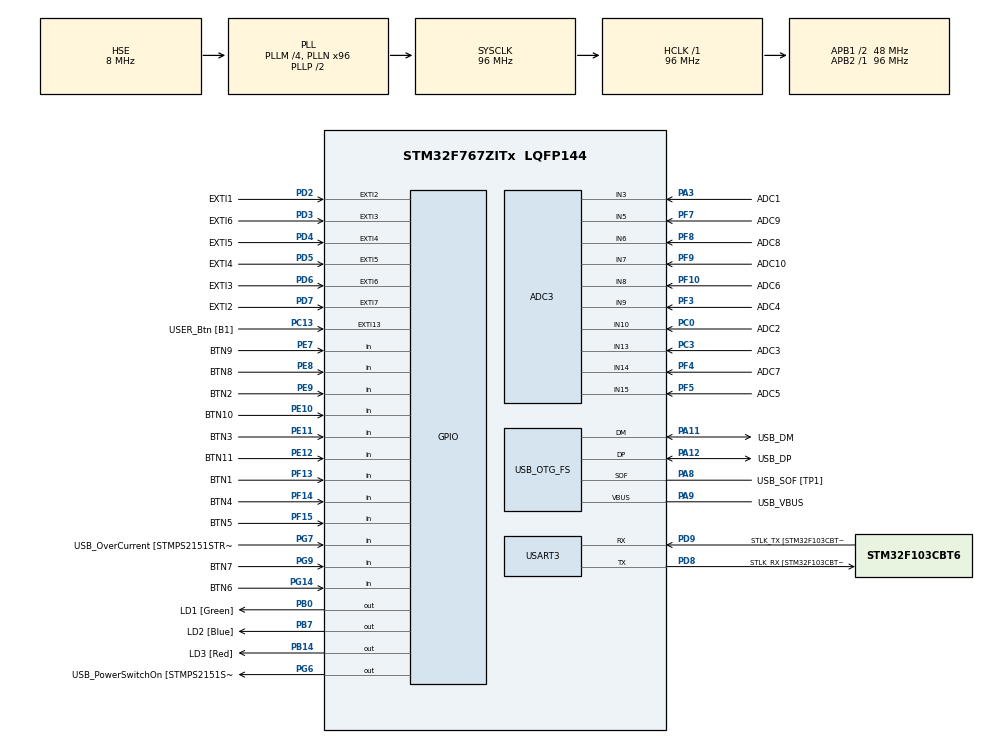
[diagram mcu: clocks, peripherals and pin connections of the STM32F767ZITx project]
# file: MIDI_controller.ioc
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ADC3.Channel-0\#ChannelRegularConversion=ADC_CHANNEL_3
ADC3.Channel-1\#ChannelRegularConversion=ADC_CHANNEL_10
ADC3.Channel-2\#ChannelRegularConversion=ADC_CHANNEL_13
ADC3.Channel-3\#ChannelRegularConversion=ADC_CHANNEL_9
ADC3.Channel-4\#ChannelRegularConversion=ADC_CHANNEL_15
ADC3.Channel-5\#ChannelRegularConversion=ADC_CHANNEL_8
ADC3.Channel-6\#ChannelRegularConversion=ADC_CHANNEL_14
ADC3.Channel-7\#ChannelRegularConversion=ADC_CHANNEL_6
ADC3.Channel-8\#ChannelRegularConversion=ADC_CHANNEL_5
ADC3.Channel-9\#ChannelRegularConversion=ADC_CHANNEL_7
ADC3.ClockPrescaler=ADC_CLOCK_SYNC_PCLK_DIV8
ADC3.DiscontinuousConvMode=ENABLE
ADC3.NbrOfConversion=10
ADC3.NbrOfConversionFlag=1
ADC3.Rank-0\#ChannelRegularConversion=1
ADC3.Rank-1\#ChannelRegularConversion=2
ADC3.Rank-2\#ChannelRegularConversion=3
ADC3.Rank-3\#ChannelRegularConversion=4
ADC3.Rank-4\#ChannelRegularConversion=5
ADC3.Rank-5\#ChannelRegularConversion=6
ADC3.Rank-6\#ChannelRegularConversion=7
ADC3.Rank-7\#ChannelRegularConversion=8
ADC3.Rank-8\#ChannelRegularConversion=9
ADC3.Rank-9\#ChannelRegularConversion=10
ADC3.SamplingTime-0\#ChannelRegularConversion=ADC_SAMPLETIME_3CYCLES
ADC3.SamplingTime-1\#ChannelRegularConversion=ADC_SAMPLETIME_3CYCLES
ADC3.SamplingTime-2\#ChannelRegularConversion=ADC_SAMPLETIME_3CYCLES
ADC3.SamplingTime-3\#ChannelRegularConversion=ADC_SAMPLETIME_3CYCLES
ADC3.SamplingTime-4\#ChannelRegularConversion=ADC_SAMPLETIME_3CYCLES
ADC3.SamplingTime-5\#ChannelRegularConversion=ADC_SAMPLETIME_3CYCLES
ADC3.SamplingTime-6\#ChannelRegularConversion=ADC_SAMPLETIME_3CYCLES
ADC3.SamplingTime-7\#ChannelRegularConversion=ADC_SAMPLETIME_3CYCLES
ADC3.SamplingTime-8\#ChannelRegularConversion=ADC_SAMPLETIME_3CYCLES
ADC3.SamplingTime-9\#ChannelRegularConversion=ADC_SAMPLETIME_3CYCLES
CORTEX_M7.default_mode_Activation=1
Mcu.Family=STM32F7
Mcu.Name=STM32F767ZITx
Mcu.Package=LQFP144
NVIC.OTG_FS_IRQn=true\:0\:0\:false\:false\:true\:false\:true\:true
NVIC.PriorityGroup=NVIC_PRIORITYGROUP_4
PA1.GPIO_Label=RMII_REF_CLK [LAN8742A-CZ-TR_REFCLK0]
PA1.Signal=ETH_REF_CLK
PA10.GPIO_Label=USB_ID
PA10.Signal=USB_OTG_FS_ID
PA11.GPIO_Label=USB_DM
PA11.Mode=Device_Only
PA11.Signal=USB_OTG_FS_DM
PA12.GPIO_Label=USB_DP
PA12.Mode=Device_Only
PA12.Signal=USB_OTG_FS_DP
PA13.GPIO_Label=TMS
PA13.Mode=Serial_Wire
PA13.Signal=SYS_JTMS-SWDIO
PA14.GPIO_Label=TCK
PA14.Mode=Serial_Wire
PA14.Signal=SYS_JTCK-SWCLK
PA2.GPIO_Label=RMII_MDIO [LAN8742A-CZ-TR_MDIO]
PA2.Signal=ETH_MDIO
PA3.GPIO_Label=ADC1
PA3.Signal=ADCx_IN3
PA7.GPIO_Label=RMII_CRS_DV [LAN8742A-CZ-TR_CRS_DV]
PA7.Signal=ETH_CRS_DV
PA8.GPIO_Label=USB_SOF [TP1]
PA8.Mode=Activate_SOF_FS
PA8.Signal=USB_OTG_FS_SOF
PA9.GPIO_Label=USB_VBUS
PA9.Mode=Activate_VBUS
PA9.Signal=USB_OTG_FS_VBUS
PB0.GPIO_Label=LD1 [Green]
PB0.Signal=GPIO_Output
PB13.GPIO_Label=RMII_TXD1 [LAN8742A-CZ-TR_TXD1]
PB13.Signal=ETH_TXD1
PB14.GPIO_Label=LD3 [Red]
PB14.Signal=GPIO_Output
PB3.GPIO_Label=SWO
PB3.Signal=SYS_JTDO-SWO
PB7.GPIO_Label=LD2 [Blue]
PB7.Signal=GPIO_Output
PC0.GPIO_Label=ADC2
PC0.Signal=ADCx_IN10
PC1.GPIO_Label=RMII_MDC [LAN8742A-CZ-TR_MDC]
PC1.Signal=ETH_MDC
PC13.GPIO_Label=USER_Btn [B1]
PC13.Signal=GPXTI13
PC14/OSC32_IN.Mode=LSE-External-Oscillator
PC14/OSC32_IN.Signal=RCC_OSC32_IN
PC15/OSC32_OUT.Mode=LSE-External-Oscillator
PC15/OSC32_OUT.Signal=RCC_OSC32_OUT
PC3.GPIO_Label=ADC3
PC3.Signal=ADCx_IN13
PC4.GPIO_Label=RMII_RXD0 [LAN8742A-CZ-TR_RXD0]
PC4.Signal=ETH_RXD0
PC5.GPIO_Label=RMII_RXD1 [LAN8742A-CZ-TR_RXD1]
PC5.Signal=ETH_RXD1
PD2.GPIO_Label=EXTI1
PD2.GPIO_ModeDefaultEXTI=GPIO_MODE_IT_RISING
PD2.Signal=GPXTI2
PD3.GPIO_Label=EXTI6
PD3.GPIO_ModeDefaultEXTI=GPIO_MODE_IT_RISING
PD3.Signal=GPXTI3
PD4.GPIO_Label=EXTI5
PD4.GPIO_ModeDefaultEXTI=GPIO_MODE_IT_RISING
PD4.Signal=GPXTI4
PD5.GPIO_Label=EXTI4
PD5.GPIO_ModeDefaultEXTI=GPIO_MODE_IT_RISING
PD5.Signal=GPXTI5
PD6.GPIO_Label=EXTI3
PD6.GPIO_ModeDefaultEXTI=GPIO_MODE_IT_RISING
PD6.Signal=GPXTI6
PD7.GPIO_Label=EXTI2
PD7.GPIO_ModeDefaultEXTI=GPIO_MODE_IT_RISING
PD7.Signal=GPXTI7
PD8.GPIO_Label=STLK_RX [STM32F103CBT6_PA3]
PD8.Mode=Asynchronous
PD8.Signal=USART3_TX
PD9.GPIO_Label=STLK_TX [STM32F103CBT6_PA2]
PD9.Mode=Asynchronous
PD9.Signal=USART3_RX
PE10.GPIO_Label=BTN10
PE10.GPIO_PuPd=GPIO_PULLUP
PE10.Signal=GPIO_Input
PE11.GPIO_Label=BTN3
PE11.GPIO_PuPd=GPIO_PULLUP
PE11.Signal=GPIO_Input
PE12.GPIO_Label=BTN11
PE12.GPIO_PuPd=GPIO_PULLUP
PE12.Signal=GPIO_Input
PE7.GPIO_Label=BTN9
PE7.GPIO_PuPd=GPIO_PULLUP
PE7.Signal=GPIO_Input
PE8.GPIO_Label=BTN8
PE8.GPIO_PuPd=GPIO_PULLUP
PE8.Signal=GPIO_Input
PE9.GPIO_Label=BTN2
PE9.GPIO_PuPd=GPIO_PULLUP
PE9.Signal=GPIO_Input
PF10.GPIO_Label=ADC6
PF10.Mode=IN8
PF10.Signal=ADC3_IN8
PF13.GPIO_Label=BTN1
PF13.GPIO_PuPd=GPIO_PULLUP
PF13.Signal=GPIO_Input
PF14.GPIO_Label=BTN4
PF14.GPIO_PuPd=GPIO_PULLUP
PF14.Signal=GPIO_Input
PF15.GPIO_Label=BTN5
PF15.GPIO_PuPd=GPIO_PULLUP
PF15.Signal=GPIO_Input
PF3.GPIO_Label=ADC4
PF3.Mode=IN9
PF3.Signal=ADC3_IN9
PF4.GPIO_Label=ADC7
PF4.Mode=IN14
PF4.Signal=ADC3_IN14
PF5.GPIO_Label=ADC5
PF5.Mode=IN15
PF5.Signal=ADC3_IN15
PF7.GPIO_Label=ADC9
PF7.Mode=IN5
PF7.Signal=ADC3_IN5
PF8.GPIO_Label=ADC8
PF8.Mode=IN6
PF8.Signal=ADC3_IN6
PF9.GPIO_Label=ADC10
PF9.Mode=IN7
PF9.Signal=ADC3_IN7
PG11.GPIO_Label=RMII_TX_EN [LAN8742A-CZ-TR_TXEN]
PG11.Signal=ETH_TX_EN
PG13.GPIO_Label=RMII_TXD0 [LAN8742A-CZ-TR_TXD0]
PG13.Signal=ETH_TXD0
PG14.GPIO_Label=BTN6
PG14.GPIO_PuPd=GPIO_PULLUP
PG14.Signal=GPIO_Input
PG6.GPIO_Label=USB_PowerSwitchOn [STMPS2151STR_EN]
PG6.Signal=GPIO_Output
PG7.GPIO_Label=USB_OverCurrent [STMPS2151STR_FAULT]
PG7.Signal=GPIO_Input
PG9.GPIO_Label=BTN7
PG9.GPIO_PuPd=GPIO_PULLUP
PG9.Signal=GPIO_Input
PH0/OSC_IN.GPIO_Label=MCO [STM32F103CBT6_PA8]
PH0/OSC_IN.Mode=HSE-External-Clock-Source
PH0/OSC_IN.Signal=RCC_OSC_IN
PH1/OSC_OUT.Mode=HSE-External-Clock-Source
PH1/OSC_OUT.Signal=RCC_OSC_OUT
ProjectManager.HeapSize=0x200
ProjectManager.StackSize=0x400
ProjectManager.TargetToolchain=CMake
RCC.48MHZClocksFreq_Value=24000000
RCC.AHBFreq_Value=96000000
RCC.APB1CLKDivider=RCC_HCLK_DIV2
RCC.APB1Freq_Value=48000000
RCC.APB1TimFreq_Value=96000000
RCC.APB2Freq_Value=96000000
RCC.APB2TimFreq_Value=96000000
RCC.CortexFreq_Value=96000000
RCC.HCLKFreq_Value=96000000
RCC.HSE_VALUE=8000000
RCC.HSI_VALUE=16000000
RCC.PLLM=4
RCC.PLLMUL=RCC_PLL_MUL9
RCC.PLLN=96
RCC.PLLQ=4
RCC.PRESCALERUSB=RCC_USBCLKSOURCE_PLL_DIV1_5
RCC.SYSCLKFreq_VALUE=96000000
RCC.SYSCLKSource=RCC_SYSCLKSOURCE_PLLCLK
RCC.SYSCLKSourceVirtual=RCC_SYSCLKSOURCE_PLLCLK
RCC.USBFreq_Value=48000000
RCC.VCOOutputFreq_Value=192000000
SH.ADCx_IN10.0=ADC3_IN10,IN10
SH.ADCx_IN13.0=ADC3_IN13,IN13
SH.ADCx_IN3.0=ADC3_IN3,IN3
USART3.VirtualMode-Asynchronous=VM_ASYNC
USB_DEVICE.CLASS_NAME_FS=HID
USB_DEVICE.VirtualMode-HID_FS=Hid
USB_DEVICE.VirtualModeFS=Hid_FS
USB_OTG_FS.VirtualMode=Device_Only
VP_USB_DEVICE_VS_USB_DEVICE_HID_FS.Mode=HID_FS
board=NUCLEO-F767ZI

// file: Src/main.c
/* USER CODE BEGIN Header */
/**
  ******************************************************************************
  * @file           : main.c
  * @brief          : Main program body
  ******************************************************************************
  * @attention
  *
  * Copyright (c) 2026 STMicroelectronics.
  * All rights reserved.
  *
  * This software is licensed under terms that can be found in the LICENSE file
  * in the root directory of this software component.
  * If no LICENSE file comes with this software, it is provided AS-IS.
  *
  ******************************************************************************
  */
/* USER CODE END Header */
#include "main.h"
#include "usb_device.h"

/* USER CODE BEGIN Includes */
#include "usbd_midi.h"
#include <stdint.h>
#include <stdio.h>

/* USER CODE END Includes */

/* USER CODE BEGIN PD */
#define POT_SMOOTHING 1
#define BOUNCE_DELAY 20

/* USER CODE END PD */

ADC_HandleTypeDef hadc3;

UART_HandleTypeDef huart3;

/* USER CODE BEGIN PV */

/* USER CODE BEGIN PV */
extern USBD_HandleTypeDef hUsbDeviceFS;
int bounceTime = 0;

uint8_t controlChange[4];

struct encoderData {
  int position;
  uint8_t turnDetected;
  uint8_t direction;
  int bounceTime;
  int counter;
  int prevCounter;
};

struct encoderData encoders[3];

uint8_t switchs[11];
uint16_t pots[10];

/* USER CODE END PV */

void SystemClock_Config(void);
static void MPU_Config(void);
static void MX_GPIO_Init(void);
static void MX_USART3_UART_Init(void);
static void MX_ADC3_Init(void);

/* USER CODE BEGIN 0 */

void HAL_GPIO_EXTI_Callback(uint16_t GPIO_Pin){
  // On rising edge
  // Switch statement
  switch (GPIO_Pin) {
  case EXTI1_Pin:
    if(HAL_GPIO_ReadPin(GPIOD, EXTI2_Pin) == GPIO_PIN_RESET){
        encoders[0].counter++;
      }
      else {
        encoders[0].counter--;
      }
    break;
  case EXTI2_Pin:
    if(HAL_GPIO_ReadPin(GPIOD, EXTI1_Pin) == GPIO_PIN_RESET){
      encoders[0].counter--;
    }
    else {
      encoders[0].counter++;
    }
    break;
  case EXTI3_Pin:
    if(HAL_GPIO_ReadPin(GPIOD, EXTI4_Pin) == GPIO_PIN_RESET){
        encoders[1].counter++;
      }
      else {
        encoders[1].counter--;
      }
    break;
  case EXTI4_Pin:
    if(HAL_GPIO_ReadPin(GPIOD, EXTI3_Pin) == GPIO_PIN_RESET){
      encoders[1].counter--;
    }
    else {
      encoders[1].counter++;
    }
    break;
  case EXTI5_Pin:
    if(HAL_GPIO_ReadPin(GPIOD, EXTI6_Pin) == GPIO_PIN_RESET){
        encoders[2].counter++;
      }
      else {
        encoders[2].counter--;
      }
    break;
  case EXTI6_Pin:
    if(HAL_GPIO_ReadPin(GPIOD, EXTI5_Pin) == GPIO_PIN_RESET){
      encoders[2].counter--;
    }
    else {
      encoders[2].counter++;
    }
    break;
  default:
      break;
  }
  return;
}

void sendMIDI(uint8_t cc, uint8_t data){
  printf("CC %d - val= %d\r\n", cc , data),
  controlChange[2] = cc;
  controlChange[3] = data;

  while(USBD_MIDI_GetState(&hUsbDeviceFS) == MIDI_BUSY ) {}

  USBD_MIDI_SendPackets(&hUsbDeviceFS, (uint8_t *)&controlChange, 4);
}

/* USER CODE END 0 */

int main(void)
{

  /* MPU Configuration--------------------------------------------------------*/
  MPU_Config();

  /* MCU Configuration--------------------------------------------------------*/

  /* Reset of all peripherals, Initializes the Flash interface and the Systick. */
  HAL_Init();

  /* Configure the system clock */
  SystemClock_Config();

  /* Initialize all configured peripherals */
  MX_GPIO_Init();
  MX_USART3_UART_Init();
  MX_USB_DEVICE_Init();
  MX_ADC3_Init();
  /* USER CODE BEGIN 2 */

  controlChange[0] = 0x0B; // Cable 0, Control change
  controlChange[1] = 0xB0; // Control change, Channel 0

  /* USER CODE END 2 */

  /* Infinite loop */
  while (1)
  {

    /* USER CODE BEGIN 3 */

    // Switchs
    if(HAL_GPIO_ReadPin(BTN1_GPIO_Port, BTN1_Pin) == GPIO_PIN_RESET){
      sendMIDI(50, 0);
    }
    if(HAL_GPIO_ReadPin(BTN2_GPIO_Port, BTN2_Pin) == GPIO_PIN_RESET){
      sendMIDI(51, 0);
    }
    if(HAL_GPIO_ReadPin(BTN3_GPIO_Port, BTN3_Pin) == GPIO_PIN_RESET){
      sendMIDI(52, 0);
    }
    if(HAL_GPIO_ReadPin(BTN4_GPIO_Port, BTN4_Pin) == GPIO_PIN_RESET){
      sendMIDI(53, 0);
    }
    if(HAL_GPIO_ReadPin(BTN5_GPIO_Port, BTN5_Pin) == GPIO_PIN_RESET){
      sendMIDI(54, 0);
    }
    if(HAL_GPIO_ReadPin(BTN6_GPIO_Port, BTN6_Pin) == GPIO_PIN_RESET){
      sendMIDI(55, 0);
    }
    if(HAL_GPIO_ReadPin(BTN7_GPIO_Port, BTN7_Pin) == GPIO_PIN_RESET){
      sendMIDI(56, 0);
    }
    if(HAL_GPIO_ReadPin(BTN8_GPIO_Port, BTN8_Pin) == GPIO_PIN_RESET){
      sendMIDI(57, 0);
    }
    if(HAL_GPIO_ReadPin(BTN9_GPIO_Port, BTN9_Pin) == GPIO_PIN_RESET){
      sendMIDI(58, 0);
    }
    if(HAL_GPIO_ReadPin(BTN10_GPIO_Port, BTN10_Pin) == GPIO_PIN_RESET){
      sendMIDI(59, 0);
    }
    if(HAL_GPIO_ReadPin(BTN11_GPIO_Port, BTN11_Pin) == GPIO_PIN_RESET){
      sendMIDI(60, 0);
    }

    // Rotary encoders
    int i;
    for (i = 0; i < 3; i++) {
      struct encoderData *encoder = &encoders[i];
      if(encoder->counter != encoder->prevCounter){
        sendMIDI(61 + i, 64 - (encoder->counter - encoder->prevCounter));
        HAL_Delay(1); // TODO fixed rate
      }
      encoder->prevCounter = encoder->counter;
    }

    // Pots
    for (i=0; i < 10; i++){
      // Scan & discontinuous conversion mode (trigger each conversion)
      HAL_ADC_Start(&hadc3); // Start ADC Conversion
      HAL_ADC_PollForConversion(&hadc3, 1); // Poll ADC1 Perihperal & TimeOut = 1mSec
      uint16_t AD_RES = HAL_ADC_GetValue(&hadc3); // Read The ADC Conversion Result

      int current =  (int)(AD_RES * 0.03125); // Convert to uint8 (0-127)
      int prev = pots[i];

      if(current < prev - POT_SMOOTHING || current > prev + POT_SMOOTHING){
        sendMIDI(64 + i, current);
        pots[i] = (uint8_t)current;
      }
    }
    HAL_ADC_Stop(&hadc3);

  }
  /* USER CODE END 3 */
}

void SystemClock_Config(void)
{
  RCC_OscInitTypeDef RCC_OscInitStruct = {0};
  RCC_ClkInitTypeDef RCC_ClkInitStruct = {0};

  /** Configure LSE Drive Capability
  */
  HAL_PWR_EnableBkUpAccess();

  /** Configure the main internal regulator output voltage
  */
  __HAL_RCC_PWR_CLK_ENABLE();
  __HAL_PWR_VOLTAGESCALING_CONFIG(PWR_REGULATOR_VOLTAGE_SCALE3);

  /** Initializes the RCC Oscillators according to the specified parameters
  * in the RCC_OscInitTypeDef structure.
  */
  RCC_OscInitStruct.OscillatorType = RCC_OSCILLATORTYPE_HSE;
  RCC_OscInitStruct.HSEState = RCC_HSE_BYPASS;
  RCC_OscInitStruct.PLL.PLLState = RCC_PLL_ON;
  RCC_OscInitStruct.PLL.PLLSource = RCC_PLLSOURCE_HSE;
  RCC_OscInitStruct.PLL.PLLM = 4;
  RCC_OscInitStruct.PLL.PLLN = 96;
  RCC_OscInitStruct.PLL.PLLP = RCC_PLLP_DIV2;
  RCC_OscInitStruct.PLL.PLLQ = 4;
  RCC_OscInitStruct.PLL.PLLR = 2;
  if (HAL_RCC_OscConfig(&RCC_OscInitStruct) != HAL_OK)
  {
    Error_Handler();
  }

  /** Activate the Over-Drive mode
  */
  if (HAL_PWREx_EnableOverDrive() != HAL_OK)
  {
    Error_Handler();
  }

  /** Initializes the CPU, AHB and APB buses clocks
  */
  RCC_ClkInitStruct.ClockType = RCC_CLOCKTYPE_HCLK|RCC_CLOCKTYPE_SYSCLK
                              |RCC_CLOCKTYPE_PCLK1|RCC_CLOCKTYPE_PCLK2;
  RCC_ClkInitStruct.SYSCLKSource = RCC_SYSCLKSOURCE_PLLCLK;
  RCC_ClkInitStruct.AHBCLKDivider = RCC_SYSCLK_DIV1;
  RCC_ClkInitStruct.APB1CLKDivider = RCC_HCLK_DIV2;
  RCC_ClkInitStruct.APB2CLKDivider = RCC_HCLK_DIV1;

  if (HAL_RCC_ClockConfig(&RCC_ClkInitStruct, FLASH_LATENCY_3) != HAL_OK)
  {
    Error_Handler();
  }
}

static void MX_ADC3_Init(void)
{

  ADC_ChannelConfTypeDef sConfig = {0};

  /** Configure the global features of the ADC (Clock, Resolution, Data Alignment and number of conversion)
  */
  hadc3.Instance = ADC3;
  hadc3.Init.ClockPrescaler = ADC_CLOCK_SYNC_PCLK_DIV8;
  hadc3.Init.Resolution = ADC_RESOLUTION_12B;
  hadc3.Init.ScanConvMode = ADC_SCAN_ENABLE;
  hadc3.Init.ContinuousConvMode = DISABLE;
  hadc3.Init.DiscontinuousConvMode = ENABLE;
  hadc3.Init.NbrOfDiscConversion = 1;
  hadc3.Init.ExternalTrigConvEdge = ADC_EXTERNALTRIGCONVEDGE_NONE;
  hadc3.Init.ExternalTrigConv = ADC_SOFTWARE_START;
  hadc3.Init.DataAlign = ADC_DATAALIGN_RIGHT;
  hadc3.Init.NbrOfConversion = 10;
  hadc3.Init.DMAContinuousRequests = DISABLE;
  hadc3.Init.EOCSelection = ADC_EOC_SINGLE_CONV;
  if (HAL_ADC_Init(&hadc3) != HAL_OK)
  {
    Error_Handler();
  }

  /** Configure for the selected ADC regular channel its corresponding rank in the sequencer and its sample time.
  */
  sConfig.Channel = ADC_CHANNEL_3;
  sConfig.Rank = ADC_REGULAR_RANK_1;
  sConfig.SamplingTime = ADC_SAMPLETIME_3CYCLES;
  if (HAL_ADC_ConfigChannel(&hadc3, &sConfig) != HAL_OK)
  {
    Error_Handler();
  }

  /** Configure for the selected ADC regular channel its corresponding rank in the sequencer and its sample time.
  */
  sConfig.Channel = ADC_CHANNEL_10;
  sConfig.Rank = ADC_REGULAR_RANK_2;
  if (HAL_ADC_ConfigChannel(&hadc3, &sConfig) != HAL_OK)
  {
    Error_Handler();
  }

  /** Configure for the selected ADC regular channel its corresponding rank in the sequencer and its sample time.
  */
  sConfig.Channel = ADC_CHANNEL_13;
  sConfig.Rank = ADC_REGULAR_RANK_3;
  if (HAL_ADC_ConfigChannel(&hadc3, &sConfig) != HAL_OK)
  {
    Error_Handler();
  }

  /** Configure for the selected ADC regular channel its corresponding rank in the sequencer and its sample time.
  */
  sConfig.Channel = ADC_CHANNEL_9;
  sConfig.Rank = ADC_REGULAR_RANK_4;
  if (HAL_ADC_ConfigChannel(&hadc3, &sConfig) != HAL_OK)
  {
    Error_Handler();
  }

  /** Configure for the selected ADC regular channel its corresponding rank in the sequencer and its sample time.
  */
  sConfig.Channel = ADC_CHANNEL_15;
  sConfig.Rank = ADC_REGULAR_RANK_5;
  if (HAL_ADC_ConfigChannel(&hadc3, &sConfig) != HAL_OK)
  {
    Error_Handler();
  }

  /** Configure for the selected ADC regular channel its corresponding rank in the sequencer and its sample time.
  */
  sConfig.Channel = ADC_CHANNEL_8;
  sConfig.Rank = ADC_REGULAR_RANK_6;
  if (HAL_ADC_ConfigChannel(&hadc3, &sConfig) != HAL_OK)
  {
    Error_Handler();
  }

  /** Configure for the selected ADC regular channel its corresponding rank in the sequencer and its sample time.
  */
  sConfig.Channel = ADC_CHANNEL_14;
  sConfig.Rank = ADC_REGULAR_RANK_7;
  if (HAL_ADC_ConfigChannel(&hadc3, &sConfig) != HAL_OK)
  {
    Error_Handler();
  }

  /** Configure for the selected ADC regular channel its corresponding rank in the sequencer and its sample time.
  */
  sConfig.Channel = ADC_CHANNEL_6;
  sConfig.Rank = ADC_REGULAR_RANK_8;
  if (HAL_ADC_ConfigChannel(&hadc3, &sConfig) != HAL_OK)
  {
    Error_Handler();
  }

  /** Configure for the selected ADC regular channel its corresponding rank in the sequencer and its sample time.
  */
  sConfig.Channel = ADC_CHANNEL_5;
  sConfig.Rank = ADC_REGULAR_RANK_9;
  if (HAL_ADC_ConfigChannel(&hadc3, &sConfig) != HAL_OK)
  {
    Error_Handler();
  }

  /** Configure for the selected ADC regular channel its corresponding rank in the sequencer and its sample time.
  */
  sConfig.Channel = ADC_CHANNEL_7;
  sConfig.Rank = ADC_REGULAR_RANK_10;
  if (HAL_ADC_ConfigChannel(&hadc3, &sConfig) != HAL_OK)
  {
    Error_Handler();
  }

}

static void MX_USART3_UART_Init(void)
{

  huart3.Instance = USART3;
  huart3.Init.BaudRate = 115200;
  huart3.Init.WordLength = UART_WORDLENGTH_8B;
  huart3.Init.StopBits = UART_STOPBITS_1;
  huart3.Init.Parity = UART_PARITY_NONE;
  huart3.Init.Mode = UART_MODE_TX_RX;
  huart3.Init.HwFlowCtl = UART_HWCONTROL_NONE;
  huart3.Init.OverSampling = UART_OVERSAMPLING_16;
  huart3.Init.OneBitSampling = UART_ONE_BIT_SAMPLE_DISABLE;
  huart3.AdvancedInit.AdvFeatureInit = UART_ADVFEATURE_NO_INIT;
  if (HAL_UART_Init(&huart3) != HAL_OK)
  {
    Error_Handler();
  }

}

static void MX_GPIO_Init(void)
{
  GPIO_InitTypeDef GPIO_InitStruct = {0};

  /* GPIO Ports Clock Enable */
  __HAL_RCC_GPIOC_CLK_ENABLE();
  __HAL_RCC_GPIOF_CLK_ENABLE();
  __HAL_RCC_GPIOH_CLK_ENABLE();
  __HAL_RCC_GPIOA_CLK_ENABLE();
  __HAL_RCC_GPIOB_CLK_ENABLE();
  __HAL_RCC_GPIOE_CLK_ENABLE();
  __HAL_RCC_GPIOD_CLK_ENABLE();
  __HAL_RCC_GPIOG_CLK_ENABLE();

  /*Configure GPIO pin Output Level */
  HAL_GPIO_WritePin(GPIOB, LD1_Pin|LD3_Pin|LD2_Pin, GPIO_PIN_RESET);

  /*Configure GPIO pin Output Level */
  HAL_GPIO_WritePin(USB_PowerSwitchOn_GPIO_Port, USB_PowerSwitchOn_Pin, GPIO_PIN_RESET);

  /*Configure GPIO pin : USER_Btn_Pin */
  GPIO_InitStruct.Pin = USER_Btn_Pin;
  GPIO_InitStruct.Mode = GPIO_MODE_IT_RISING;
  GPIO_InitStruct.Pull = GPIO_NOPULL;
  HAL_GPIO_Init(USER_Btn_GPIO_Port, &GPIO_InitStruct);

  /*Configure GPIO pins : RMII_MDC_Pin RMII_RXD0_Pin RMII_RXD1_Pin */
  GPIO_InitStruct.Pin = RMII_MDC_Pin|RMII_RXD0_Pin|RMII_RXD1_Pin;
  GPIO_InitStruct.Mode = GPIO_MODE_AF_PP;
  GPIO_InitStruct.Pull = GPIO_NOPULL;
  GPIO_InitStruct.Speed = GPIO_SPEED_FREQ_HIGH;
  GPIO_InitStruct.Alternate = GPIO_AF11_ETH;
  HAL_GPIO_Init(GPIOC, &GPIO_InitStruct);

  /*Configure GPIO pins : RMII_REF_CLK_Pin RMII_MDIO_Pin RMII_CRS_DV_Pin */
  GPIO_InitStruct.Pin = RMII_REF_CLK_Pin|RMII_MDIO_Pin|RMII_CRS_DV_Pin;
  GPIO_InitStruct.Mode = GPIO_MODE_AF_PP;
  GPIO_InitStruct.Pull = GPIO_NOPULL;
  GPIO_InitStruct.Speed = GPIO_SPEED_FREQ_HIGH;
  GPIO_InitStruct.Alternate = GPIO_AF11_ETH;
  HAL_GPIO_Init(GPIOA, &GPIO_InitStruct);

  /*Configure GPIO pins : LD1_Pin LD3_Pin LD2_Pin */
  GPIO_InitStruct.Pin = LD1_Pin|LD3_Pin|LD2_Pin;
  GPIO_InitStruct.Mode = GPIO_MODE_OUTPUT_PP;
  GPIO_InitStruct.Pull = GPIO_NOPULL;
  GPIO_InitStruct.Speed = GPIO_SPEED_FREQ_LOW;
  HAL_GPIO_Init(GPIOB, &GPIO_InitStruct);

  /*Configure GPIO pins : BTN1_Pin BTN4_Pin BTN5_Pin */
  GPIO_InitStruct.Pin = BTN1_Pin|BTN4_Pin|BTN5_Pin;
  GPIO_InitStruct.Mode = GPIO_MODE_INPUT;
  GPIO_InitStruct.Pull = GPIO_PULLUP;
  HAL_GPIO_Init(GPIOF, &GPIO_InitStruct);

  /*Configure GPIO pins : BTN9_Pin BTN8_Pin BTN2_Pin BTN10_Pin
                           BTN3_Pin BTN11_Pin */
  GPIO_InitStruct.Pin = BTN9_Pin|BTN8_Pin|BTN2_Pin|BTN10_Pin
                          |BTN3_Pin|BTN11_Pin;
  GPIO_InitStruct.Mode = GPIO_MODE_INPUT;
  GPIO_InitStruct.Pull = GPIO_PULLUP;
  HAL_GPIO_Init(GPIOE, &GPIO_InitStruct);

  /*Configure GPIO pin : RMII_TXD1_Pin */
  GPIO_InitStruct.Pin = RMII_TXD1_Pin;
  GPIO_InitStruct.Mode = GPIO_MODE_AF_PP;
  GPIO_InitStruct.Pull = GPIO_NOPULL;
  GPIO_InitStruct.Speed = GPIO_SPEED_FREQ_HIGH;
  GPIO_InitStruct.Alternate = GPIO_AF11_ETH;
  HAL_GPIO_Init(RMII_TXD1_GPIO_Port, &GPIO_InitStruct);

  /*Configure GPIO pin : USB_PowerSwitchOn_Pin */
  GPIO_InitStruct.Pin = USB_PowerSwitchOn_Pin;
  GPIO_InitStruct.Mode = GPIO_MODE_OUTPUT_PP;
  GPIO_InitStruct.Pull = GPIO_NOPULL;
  GPIO_InitStruct.Speed = GPIO_SPEED_FREQ_LOW;
  HAL_GPIO_Init(USB_PowerSwitchOn_GPIO_Port, &GPIO_InitStruct);

  /*Configure GPIO pin : USB_OverCurrent_Pin */
  GPIO_InitStruct.Pin = USB_OverCurrent_Pin;
  GPIO_InitStruct.Mode = GPIO_MODE_INPUT;
  GPIO_InitStruct.Pull = GPIO_NOPULL;
  HAL_GPIO_Init(USB_OverCurrent_GPIO_Port, &GPIO_InitStruct);

  /*Configure GPIO pins : EXTI1_Pin EXTI6_Pin EXTI5_Pin EXTI4_Pin
                           EXTI3_Pin EXTI2_Pin */
  GPIO_InitStruct.Pin = EXTI1_Pin|EXTI6_Pin|EXTI5_Pin|EXTI4_Pin
                          |EXTI3_Pin|EXTI2_Pin;
  GPIO_InitStruct.Mode = GPIO_MODE_IT_RISING;
  GPIO_InitStruct.Pull = GPIO_NOPULL;
  HAL_GPIO_Init(GPIOD, &GPIO_InitStruct);

  /*Configure GPIO pins : BTN7_Pin BTN6_Pin */
  GPIO_InitStruct.Pin = BTN7_Pin|BTN6_Pin;
  GPIO_InitStruct.Mode = GPIO_MODE_INPUT;
  GPIO_InitStruct.Pull = GPIO_PULLUP;
  HAL_GPIO_Init(GPIOG, &GPIO_InitStruct);

  /*Configure GPIO pins : RMII_TX_EN_Pin RMII_TXD0_Pin */
  GPIO_InitStruct.Pin = RMII_TX_EN_Pin|RMII_TXD0_Pin;
  GPIO_InitStruct.Mode = GPIO_MODE_AF_PP;
  GPIO_InitStruct.Pull = GPIO_NOPULL;
  GPIO_InitStruct.Speed = GPIO_SPEED_FREQ_HIGH;
  GPIO_InitStruct.Alternate = GPIO_AF11_ETH;
  HAL_GPIO_Init(GPIOG, &GPIO_InitStruct);

}

/* USER CODE BEGIN 4 */

// Redirect printf to UART
int _write(int file, char *ptr, int len) {
  HAL_UART_Transmit(&huart3, (uint8_t*)ptr, len, HAL_MAX_DELAY);
  return len;
}

/* USER CODE END 4 */

 /* MPU Configuration */

void MPU_Config(void)
{
  MPU_Region_InitTypeDef MPU_InitStruct = {0};

  /* Disables the MPU */
  HAL_MPU_Disable();

  /** Initializes and configures the Region and the memory to be protected
  */
  MPU_InitStruct.Enable = MPU_REGION_ENABLE;
  MPU_InitStruct.Number = MPU_REGION_NUMBER0;
  MPU_InitStruct.BaseAddress = 0x0;
  MPU_InitStruct.Size = MPU_REGION_SIZE_4GB;
  MPU_InitStruct.SubRegionDisable = 0x87;
  MPU_InitStruct.TypeExtField = MPU_TEX_LEVEL0;
  MPU_InitStruct.AccessPermission = MPU_REGION_NO_ACCESS;
  MPU_InitStruct.DisableExec = MPU_INSTRUCTION_ACCESS_DISABLE;
  MPU_InitStruct.IsShareable = MPU_ACCESS_SHAREABLE;
  MPU_InitStruct.IsCacheable = MPU_ACCESS_NOT_CACHEABLE;
  MPU_InitStruct.IsBufferable = MPU_ACCESS_NOT_BUFFERABLE;

  HAL_MPU_ConfigRegion(&MPU_InitStruct);
  /* Enables the MPU */
  HAL_MPU_Enable(MPU_PRIVILEGED_DEFAULT);

}

void Error_Handler(void)
{
  __disable_irq();
  while (1)
  {
  }
}
